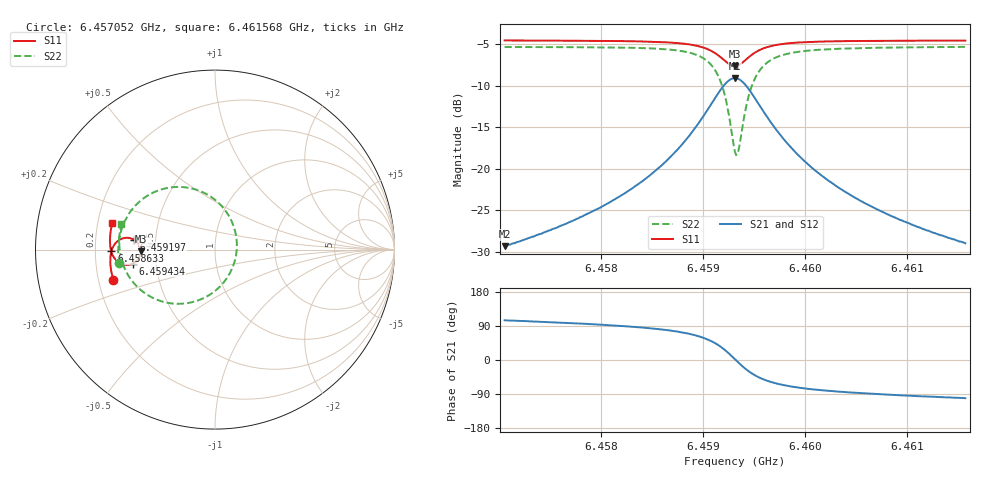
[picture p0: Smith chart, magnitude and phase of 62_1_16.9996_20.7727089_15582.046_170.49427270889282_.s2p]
#  HZ  S  RI  R  50.00
! Rohde & Schwarz Vector Network Analyzer
! Rohde-Schwarz,ZNB20-2Port,1311601062101988,3.16
! Created: UTC 3/20/2024, 10:54:50 PM
! freq[Hz]  re:S11  im:S11  re:S21  im:S21  re:S12  im:S12  re:S22  im:S22
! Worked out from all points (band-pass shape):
!   401 points, 6.457052 GHz to 6.461568 GHz, reference 50 ohm
!   highest |S21| = -9.08 dB at 6.45931 GHz (marker M1); lowest = -29.3 dB at 6.457052 GHz (marker M2)
!   |S21| within 3 dB of the highest: 6.459084 GHz to 6.459536 GHz (451.4 kHz wide, 0.00699 % of centre)
!   lowest |S11| = -7.6 dB at 6.45931 GHz (marker M3), VSWR 2.42, Z = 20.7 - j0.511 ohm
!   |S11| at or under -10 dB: nowhere
!   |S22| runs from -18.3 to -5.3 dB; largest |S21 - S12| = 0.014
!   S11 on the Smith chart (normalised r, x): 6.457052 GHz: 0.26, -0.14; 6.458633 GHz: 0.27, -0.01; 6.459197 GHz: 0.38, +0.05; 6.459434 GHz: 0.37, -0.07; 6.461568 GHz: 0.26, +0.12
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6.4570521e9  -0.5677 -0.1679  -0.00875 0.0331  -0.00696 0.0331  -0.5348 -0.0774
6.4578085e9  -0.5809 -0.1014  -0.0052 0.0513  -0.0027 0.0507  -0.539 0.0126
6.458215e9  -0.5835 -0.0603  0.000638 0.0704  0.00393 0.0691  -0.5303 0.0777
6.458565e9  -0.5793 -0.0181  0.0153 0.1004  0.0191 0.0976  -0.5031 0.1577
6.4586328e9  -0.577 -0.00843  0.0206 0.109  0.0247 0.1057  -0.4929 0.1778
6.4588247e9  -0.5641 0.022  0.0479 0.1404  0.0519 0.1352  -0.4418 0.2473
6.4589715e9  -0.5408 0.0483  0.0941 0.1711  0.0973 0.1645  -0.3563 0.3117
6.459107e9  -0.4959 0.0656  0.1833 0.1874  0.184 0.18  -0.1936 0.349
6.4591973e9  -0.4506 0.0546  0.2746 0.1547  0.2748 0.1489  -0.0247 0.2957
6.4592651e9  -0.4211 0.0216  0.3356 0.081  0.3378 0.0756  0.0909 0.162
6.4593102e9  -0.4144 -0.0102  0.3515 0.0116  0.3553 0.00451  0.1219 0.0324
6.4593441e9  -0.4186 -0.0344  0.3449 -0.0417  0.3491 -0.0509  0.1088 -0.0685
6.4593893e9  -0.4346 -0.061  0.3155 -0.1023  0.3177 -0.1145  0.0485 -0.1826
6.4594344e9  -0.457 -0.0776  0.2723 -0.1435  0.2714 -0.1569  -0.0388 -0.2573
6.4595248e9  -0.5013 -0.0845  0.186 -0.1742  0.1797 -0.1861  -0.2105 -0.302
6.4595925e9  -0.526 -0.0771  0.1371 -0.1719  0.1289 -0.1809  -0.3049 -0.2859
6.4596715e9  -0.5458 -0.0638  0.0971 -0.1596  0.0884 -0.1657  -0.3796 -0.2504
6.4598409e9  -0.5687 -0.0343  0.0495 -0.1291  0.0419 -0.1317  -0.4641 -0.172
6.4600667e9  -0.5807 -0.000726  0.0222 -0.0987  0.0164 -0.0995  -0.5082 -0.0935
6.4604167e9  -0.5854 0.0412  0.00598 -0.0709  0.00185 -0.0704  -0.5299 -0.0119
6.4608232e9  -0.5835 0.0824  -0.00145 -0.0527  -0.00438 -0.0518  -0.5335 0.0542
6.4615684e9  -0.5719 0.1487  -0.00669 -0.035  -0.00838 -0.0342  -0.5222 0.1432
